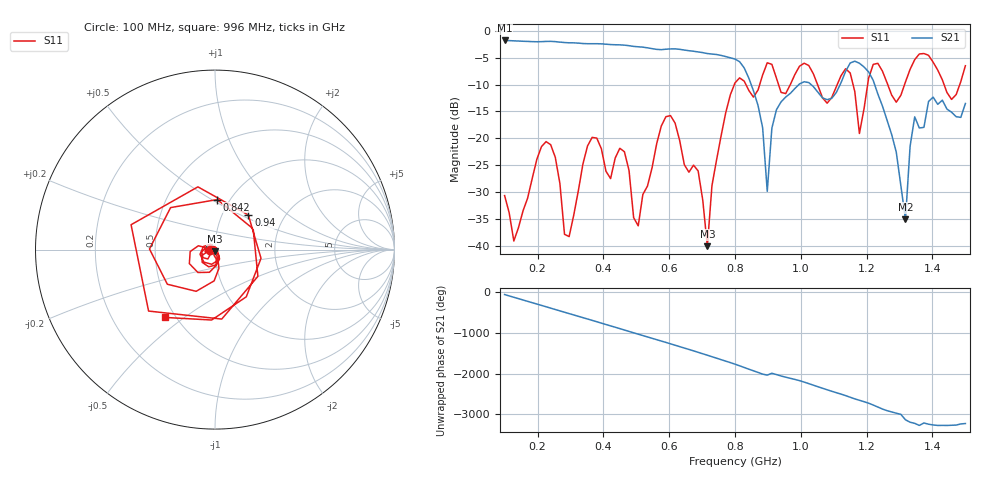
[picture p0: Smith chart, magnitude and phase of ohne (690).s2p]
! NanoVNA-App
! Date: 2025-09-25 14:26:10
! Start: 100MHz Stop: 1,5GHz Points: 101
! S-Parameter data: F S11 S21 S12 S22
# Hz S RI R 50
!  Frequency  S11_Real  S11_Imag  S21_Real  S21_Imag  S12_Real  S12_Imag  S22_Real  S22_Imag
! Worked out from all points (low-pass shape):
!   101 points, 100 MHz to 1.5 GHz, reference 50 ohm
!   highest |S21| = -1.79 dB at 100 MHz (marker M1); lowest = -35.0 dB at 1.318 GHz (marker M2)
!   |S21| within 3 dB of the highest: start of sweep to 772.1 MHz
!   lowest |S11| = -40.0 dB at 716 MHz (marker M3), VSWR 1.02, Z = 49.8 - j0.976 ohm
!   |S11| at or under -10 dB: start of sweep to 797.9 MHz; 833.2 MHz to 875 MHz (41.81 MHz wide, 4.89 % of centre); 1.051 GHz to 1.111 GHz (59.72 MHz wide, 5.53 % of centre) (the widest 3 of 7)
!   S12 and S22 are empty: the file has one direction only
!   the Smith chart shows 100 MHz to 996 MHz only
!   S11 on the Smith chart (normalised r, x): 100 MHz: 0.94, -0.01; 842 MHz: 0.88, +0.53; 940 MHz: 1.33, +0.55; 996 MHz: 0.44, -0.43
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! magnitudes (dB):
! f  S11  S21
! 100 MHz  -30.6  -1.8
! 128 MHz  -39.1  -1.9
! 226 MHz  -20.6  -2.0
! 296 MHz  -38.3  -2.2
! 338 MHz  -24.7  -2.4
! 464 MHz  -22.5  -2.7
! 506 MHz  -36.3  -3.0
! 576 MHz  -17.7  -3.5
! 688 MHz  -26.0  -3.9
! 716 MHz  -40.0  -4.2
! 800 MHz  -9.7  -5.3
! 842 MHz  -11.1  -8.8
! 898 MHz  -5.9  -29.8
! 940 MHz  -11.4  -13.2
! 996 MHz  -6.6  -9.9
! 1.038 GHz  -8.0  -10.4
! 1.178 GHz  -19.1  -6.0
! 1.22 GHz  -6.2  -9.2
! 1.276 GHz  -11.9  -19.3
! 1.318 GHz  -9.5  -35.0
! 1.346 GHz  -5.4  -16.0
! 1.5 GHz  -6.5  -13.5
